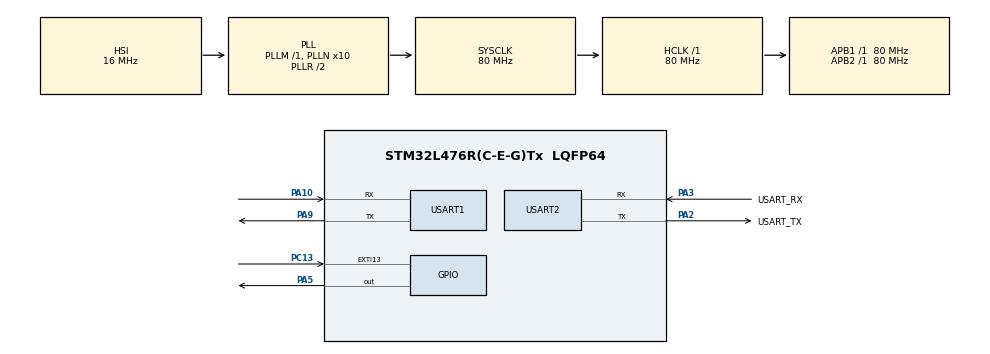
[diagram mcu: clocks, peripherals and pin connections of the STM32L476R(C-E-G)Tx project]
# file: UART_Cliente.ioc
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Dma.Request0=USART1_RX
Dma.Request1=USART1_TX
Dma.Request2=USART2_RX
Dma.Request3=USART2_TX
Dma.USART1_RX.0.Direction=DMA_PERIPH_TO_MEMORY
Dma.USART1_RX.0.Instance=DMA1_Channel5
Dma.USART1_RX.0.MemDataAlignment=DMA_MDATAALIGN_BYTE
Dma.USART1_RX.0.MemInc=DMA_MINC_ENABLE
Dma.USART1_RX.0.Mode=DMA_NORMAL
Dma.USART1_RX.0.PeriphDataAlignment=DMA_PDATAALIGN_BYTE
Dma.USART1_RX.0.PeriphInc=DMA_PINC_DISABLE
Dma.USART1_RX.0.Priority=DMA_PRIORITY_HIGH
Dma.USART1_TX.1.Direction=DMA_MEMORY_TO_PERIPH
Dma.USART1_TX.1.Instance=DMA1_Channel4
Dma.USART1_TX.1.MemDataAlignment=DMA_MDATAALIGN_BYTE
Dma.USART1_TX.1.MemInc=DMA_MINC_ENABLE
Dma.USART1_TX.1.Mode=DMA_NORMAL
Dma.USART1_TX.1.PeriphDataAlignment=DMA_PDATAALIGN_BYTE
Dma.USART1_TX.1.PeriphInc=DMA_PINC_DISABLE
Dma.USART1_TX.1.Priority=DMA_PRIORITY_MEDIUM
Dma.USART2_RX.2.Direction=DMA_PERIPH_TO_MEMORY
Dma.USART2_RX.2.Instance=DMA1_Channel6
Dma.USART2_RX.2.MemDataAlignment=DMA_MDATAALIGN_BYTE
Dma.USART2_RX.2.MemInc=DMA_MINC_ENABLE
Dma.USART2_RX.2.Mode=DMA_NORMAL
Dma.USART2_RX.2.PeriphDataAlignment=DMA_PDATAALIGN_BYTE
Dma.USART2_RX.2.PeriphInc=DMA_PINC_DISABLE
Dma.USART2_RX.2.Priority=DMA_PRIORITY_LOW
Dma.USART2_TX.3.Direction=DMA_MEMORY_TO_PERIPH
Dma.USART2_TX.3.Instance=DMA1_Channel7
Dma.USART2_TX.3.MemDataAlignment=DMA_MDATAALIGN_BYTE
Dma.USART2_TX.3.MemInc=DMA_MINC_ENABLE
Dma.USART2_TX.3.Mode=DMA_NORMAL
Dma.USART2_TX.3.PeriphDataAlignment=DMA_PDATAALIGN_BYTE
Dma.USART2_TX.3.PeriphInc=DMA_PINC_DISABLE
Dma.USART2_TX.3.Priority=DMA_PRIORITY_LOW
Mcu.Family=STM32L4
Mcu.Name=STM32L476R(C-E-G)Tx
Mcu.Package=LQFP64
NUCLEO-L476RG.BUTTON=1
NUCLEO-L476RG.LD2=true
NVIC.DMA1_Channel4_IRQn=true\:0\:0\:false\:false\:true\:false\:true\:true
NVIC.DMA1_Channel5_IRQn=true\:0\:0\:false\:false\:true\:false\:true\:true
NVIC.DMA1_Channel6_IRQn=true\:0\:0\:false\:false\:true\:false\:true\:true
NVIC.DMA1_Channel7_IRQn=true\:0\:0\:false\:false\:true\:false\:true\:true
NVIC.EXTI15_10_IRQn=true\:0\:0\:false\:false\:true\:false\:true\:true
NVIC.PriorityGroup=NVIC_PRIORITYGROUP_4
NVIC.USART1_IRQn=true\:0\:0\:false\:false\:true\:true\:true\:true
NVIC.USART2_IRQn=true\:0\:0\:false\:false\:true\:true\:true\:true
PA10.Mode=Asynchronous
PA10.Signal=USART1_RX
PA13\ (JTMS-SWDIO).GPIO_Label=TMS
PA13\ (JTMS-SWDIO).Mode=Serial_Wire
PA13\ (JTMS-SWDIO).Signal=SYS_JTMS-SWDIO
PA14\ (JTCK-SWCLK).GPIO_Label=TCK
PA14\ (JTCK-SWCLK).Mode=Serial_Wire
PA14\ (JTCK-SWCLK).Signal=SYS_JTCK-SWCLK
PA2.GPIO_Label=USART_TX
PA2.GPIO_Mode=GPIO_MODE_AF_PP
PA2.GPIO_PuPd=GPIO_NOPULL
PA2.GPIO_Speed=GPIO_SPEED_FREQ_VERY_HIGH
PA2.Mode=Asynchronous
PA2.Signal=USART2_TX
PA3.GPIO_Label=USART_RX
PA3.GPIO_Mode=GPIO_MODE_AF_PP
PA3.GPIO_PuPd=GPIO_NOPULL
PA3.GPIO_Speed=GPIO_SPEED_FREQ_VERY_HIGH
PA3.Mode=Asynchronous
PA3.Signal=USART2_RX
PA5.Signal=GPIO_Output
PA9.Mode=Asynchronous
PA9.Signal=USART1_TX
PB3\ (JTDO-TRACESWO).GPIO_Label=SWO
PB3\ (JTDO-TRACESWO).Signal=SYS_JTDO-SWO
PC13.Signal=GPXTI13
PC14-OSC32_IN\ (PC14).Signal=RCC_OSC32_IN
PC15-OSC32_OUT\ (PC15).Signal=RCC_OSC32_OUT
PH0-OSC_IN\ (PH0).Signal=RCC_OSC_IN
PH1-OSC_OUT\ (PH1).Signal=RCC_OSC_OUT
ProjectManager.HeapSize=0x200
ProjectManager.StackSize=0x400
ProjectManager.TargetToolchain=STM32CubeIDE
RCC.ADCFreq_Value=64000000
RCC.AHBFreq_Value=80000000
RCC.APB1Freq_Value=80000000
RCC.APB1TimFreq_Value=80000000
RCC.APB2Freq_Value=80000000
RCC.APB2TimFreq_Value=80000000
RCC.CortexFreq_Value=80000000
RCC.HCLKFreq_Value=80000000
RCC.HSE_VALUE=8000000
RCC.HSI_VALUE=16000000
RCC.LSE_VALUE=32768
RCC.MSI_VALUE=4000000
RCC.PLLN=10
RCC.PLLSourceVirtual=RCC_PLLSOURCE_HSI
RCC.PREFETCH_ENABLE=1
RCC.SYSCLKFreq_VALUE=80000000
RCC.SYSCLKSource=RCC_SYSCLKSOURCE_PLLCLK
RCC.USBFreq_Value=64000000
RCC.VCOOutputFreq_Value=160000000
USART1.VirtualMode-Asynchronous=VM_ASYNC
USART2.VirtualMode-Asynchronous=VM_ASYNC
VP_NUCLEO-L476RG_VS_BSP_COMMON.Mode=COMMON
board=NUCLEO-L476RG

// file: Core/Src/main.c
/* USER CODE BEGIN Header */
/**
  ******************************************************************************
  * @file           : main.c
  * @brief          : Main program body
  ******************************************************************************
  * @attention
  *
  * Copyright (c) 2026 STMicroelectronics.
  * All rights reserved.
  *
  * This software is licensed under terms that can be found in the LICENSE file
  * in the root directory of this software component.
  * If no LICENSE file comes with this software, it is provided AS-IS.
  *
  ******************************************************************************
  */
/* USER CODE END Header */
#include "main.h"

/* USER CODE BEGIN Includes */
#include <stdio.h>
#include <string.h>
#include <stdint.h>
/* USER CODE END Includes */

UART_HandleTypeDef huart1;
UART_HandleTypeDef huart2;
DMA_HandleTypeDef hdma_usart1_rx;
DMA_HandleTypeDef hdma_usart1_tx;
DMA_HandleTypeDef hdma_usart2_rx;
DMA_HandleTypeDef hdma_usart2_tx;

/* USER CODE BEGIN PV */
#define CMD_REQUEST 0x5A
#define CMD_READY   0xA5
#define TABLE_SIZE  160

typedef enum {
    CLIENT_IDLE,
    CLIENT_WAIT_COUNT,
    CLIENT_WAIT_TABLE,
    CLIENT_BLINKING,
    CLIENT_REPORT_IT,
    CLIENT_REPORT_DMA
} ClientState;

volatile ClientState clientState = CLIENT_IDLE;

// Comunicacao com servidor
uint8_t requestCmd = CMD_REQUEST;
uint8_t readyCmd = CMD_READY;

uint8_t receivedCount = 0;
uint8_t tableBuffer[TABLE_SIZE];

// Comunicacao com PC
uint8_t pcMessage[64];
uint16_t pcMessageLen = 0;

// Controle do LED
uint16_t completedBlinks = 0;
uint8_t ledIsOn = 0;

uint32_t lastLedTick = 0;
uint32_t lastButtonTick = 0;
/* USER CODE END PV */

void SystemClock_Config(void);
static void MX_GPIO_Init(void);
static void MX_DMA_Init(void);
static void MX_USART1_UART_Init(void);
static void MX_USART2_UART_Init(void);

int main(void)
{

  /* MCU Configuration--------------------------------------------------------*/

  /* Reset of all peripherals, Initializes the Flash interface and the Systick. */
  HAL_Init();

  /* Configure the system clock */
  SystemClock_Config();

  /* Initialize all configured peripherals */
  MX_GPIO_Init();
  MX_DMA_Init();
  MX_USART1_UART_Init();
  MX_USART2_UART_Init();
  /* USER CODE BEGIN 2 */
  // Comeca com LED desligado
  HAL_GPIO_WritePin(
      GPIOA,
      GPIO_PIN_5,
      GPIO_PIN_RESET
  );

  // Inicia a recepcao do contador
  if (HAL_UART_Receive_IT(
          &huart1,
          &receivedCount,
          1) != HAL_OK)
  {
      Error_Handler();
  }
  /* USER CODE END 2 */

  /* Initialize leds */
  BSP_LED_Init(LED_GREEN);

  /* Initialize USER push-button, will be used to trigger an interrupt each time it's pressed.*/
  BSP_PB_Init(BUTTON_USER, BUTTON_MODE_EXTI);

  /* Infinite loop */
  while (1)
  {

    /* USER CODE BEGIN 3 */
	  if (clientState == CLIENT_BLINKING)
	  {
	      uint32_t now = HAL_GetTick();

	      // Caso o contador seja zero
	      if (receivedCount == 0)
	      {
	          ledIsOn = 0;
	          clientState = CLIENT_REPORT_IT;
	      }
	      else if ((now - lastLedTick) >= 500)
	      {
	          lastLedTick = now;

	          if (ledIsOn == 0)
	          {
	              // Acende LED
	              HAL_GPIO_WritePin(
	                  GPIOA,
	                  GPIO_PIN_5,
	                  GPIO_PIN_SET
	              );

	              ledIsOn = 1;
	          }
	          else
	          {
	              // Apaga LED
	              HAL_GPIO_WritePin(
	                  GPIOA,
	                  GPIO_PIN_5,
	                  GPIO_PIN_RESET
	              );

	              ledIsOn = 0;
	              completedBlinks++;

	              if (completedBlinks >= receivedCount)
	              {
	                  clientState = CLIENT_REPORT_IT;
	              }
	          }
	      }
	  }

	  // Preparar a mensagem quando acabar de piscar
	  if (clientState == CLIENT_REPORT_IT &&
	      pcMessageLen == 0)
	  {
	      int len = snprintf(
	          (char *)pcMessage,
	          sizeof(pcMessage),
	          "Numero de eventos = %03u\r\n",
	          (unsigned int)receivedCount
	      );

	      if (len > 0 && len < sizeof(pcMessage))
	      {
	          pcMessageLen = (uint16_t)len;

	          if (HAL_UART_Transmit_IT(
	                  &huart2,
	                  pcMessage,
	                  pcMessageLen) != HAL_OK)
	          {
	              Error_Handler();
	          }
	      }
	  }
  }
  /* USER CODE END 3 */
}

void SystemClock_Config(void)
{
  RCC_OscInitTypeDef RCC_OscInitStruct = {0};
  RCC_ClkInitTypeDef RCC_ClkInitStruct = {0};

  /** Configure the main internal regulator output voltage
  */
  if (HAL_PWREx_ControlVoltageScaling(PWR_REGULATOR_VOLTAGE_SCALE1) != HAL_OK)
  {
    Error_Handler();
  }

  /** Initializes the RCC Oscillators according to the specified parameters
  * in the RCC_OscInitTypeDef structure.
  */
  RCC_OscInitStruct.OscillatorType = RCC_OSCILLATORTYPE_HSI;
  RCC_OscInitStruct.HSIState = RCC_HSI_ON;
  RCC_OscInitStruct.HSICalibrationValue = RCC_HSICALIBRATION_DEFAULT;
  RCC_OscInitStruct.PLL.PLLState = RCC_PLL_ON;
  RCC_OscInitStruct.PLL.PLLSource = RCC_PLLSOURCE_HSI;
  RCC_OscInitStruct.PLL.PLLM = 1;
  RCC_OscInitStruct.PLL.PLLN = 10;
  RCC_OscInitStruct.PLL.PLLP = RCC_PLLP_DIV7;
  RCC_OscInitStruct.PLL.PLLQ = RCC_PLLQ_DIV2;
  RCC_OscInitStruct.PLL.PLLR = RCC_PLLR_DIV2;
  if (HAL_RCC_OscConfig(&RCC_OscInitStruct) != HAL_OK)
  {
    Error_Handler();
  }

  /** Initializes the CPU, AHB and APB buses clocks
  */
  RCC_ClkInitStruct.ClockType = RCC_CLOCKTYPE_HCLK|RCC_CLOCKTYPE_SYSCLK
                              |RCC_CLOCKTYPE_PCLK1|RCC_CLOCKTYPE_PCLK2;
  RCC_ClkInitStruct.SYSCLKSource = RCC_SYSCLKSOURCE_PLLCLK;
  RCC_ClkInitStruct.AHBCLKDivider = RCC_SYSCLK_DIV1;
  RCC_ClkInitStruct.APB1CLKDivider = RCC_HCLK_DIV1;
  RCC_ClkInitStruct.APB2CLKDivider = RCC_HCLK_DIV1;

  if (HAL_RCC_ClockConfig(&RCC_ClkInitStruct, FLASH_LATENCY_4) != HAL_OK)
  {
    Error_Handler();
  }
}

static void MX_USART1_UART_Init(void)
{

  huart1.Instance = USART1;
  huart1.Init.BaudRate = 115200;
  huart1.Init.WordLength = UART_WORDLENGTH_8B;
  huart1.Init.StopBits = UART_STOPBITS_1;
  huart1.Init.Parity = UART_PARITY_NONE;
  huart1.Init.Mode = UART_MODE_TX_RX;
  huart1.Init.HwFlowCtl = UART_HWCONTROL_NONE;
  huart1.Init.OverSampling = UART_OVERSAMPLING_16;
  huart1.Init.OneBitSampling = UART_ONE_BIT_SAMPLE_DISABLE;
  huart1.AdvancedInit.AdvFeatureInit = UART_ADVFEATURE_NO_INIT;
  if (HAL_UART_Init(&huart1) != HAL_OK)
  {
    Error_Handler();
  }

}

static void MX_USART2_UART_Init(void)
{

  huart2.Instance = USART2;
  huart2.Init.BaudRate = 115200;
  huart2.Init.WordLength = UART_WORDLENGTH_8B;
  huart2.Init.StopBits = UART_STOPBITS_1;
  huart2.Init.Parity = UART_PARITY_NONE;
  huart2.Init.Mode = UART_MODE_TX_RX;
  huart2.Init.HwFlowCtl = UART_HWCONTROL_NONE;
  huart2.Init.OverSampling = UART_OVERSAMPLING_16;
  huart2.Init.OneBitSampling = UART_ONE_BIT_SAMPLE_DISABLE;
  huart2.AdvancedInit.AdvFeatureInit = UART_ADVFEATURE_NO_INIT;
  if (HAL_UART_Init(&huart2) != HAL_OK)
  {
    Error_Handler();
  }

}

static void MX_DMA_Init(void)
{

  /* DMA controller clock enable */
  __HAL_RCC_DMA1_CLK_ENABLE();

  /* DMA interrupt init */
  /* DMA1_Channel4_IRQn interrupt configuration */
  HAL_NVIC_SetPriority(DMA1_Channel4_IRQn, 0, 0);
  HAL_NVIC_EnableIRQ(DMA1_Channel4_IRQn);
  /* DMA1_Channel5_IRQn interrupt configuration */
  HAL_NVIC_SetPriority(DMA1_Channel5_IRQn, 0, 0);
  HAL_NVIC_EnableIRQ(DMA1_Channel5_IRQn);
  /* DMA1_Channel6_IRQn interrupt configuration */
  HAL_NVIC_SetPriority(DMA1_Channel6_IRQn, 0, 0);
  HAL_NVIC_EnableIRQ(DMA1_Channel6_IRQn);
  /* DMA1_Channel7_IRQn interrupt configuration */
  HAL_NVIC_SetPriority(DMA1_Channel7_IRQn, 0, 0);
  HAL_NVIC_EnableIRQ(DMA1_Channel7_IRQn);

}

static void MX_GPIO_Init(void)
{

  /* GPIO Ports Clock Enable */
  __HAL_RCC_GPIOC_CLK_ENABLE();
  __HAL_RCC_GPIOH_CLK_ENABLE();
  __HAL_RCC_GPIOA_CLK_ENABLE();
  __HAL_RCC_GPIOB_CLK_ENABLE();

}

/* USER CODE BEGIN 4 */
// Botao B1 da Nucleo
void HAL_GPIO_EXTI_Callback(uint16_t GPIO_Pin)
{
    if (GPIO_Pin == GPIO_PIN_13)
    {
        uint32_t now = HAL_GetTick();

        // Ignora bounce do botao
        if ((now - lastButtonTick) < 180) {
            return;
        }

        lastButtonTick = now;

        // Apenas solicita se estiver livre
        if (clientState == CLIENT_IDLE)
        {
            clientState = CLIENT_WAIT_COUNT;

            if (HAL_UART_Transmit_IT(
                    &huart1,
                    &requestCmd,
                    1) != HAL_OK)
            {
                Error_Handler();
            }
        }
    }
}

// Quando recebe contador ou tabela
void HAL_UART_RxCpltCallback(UART_HandleTypeDef *huart)
{
    // Recebeu contador via interrupcao
    if (huart->Instance == USART1 &&
        clientState == CLIENT_WAIT_COUNT)
    {
        clientState = CLIENT_WAIT_TABLE;

        // Prepara recepcao DMA da tabela
        if (HAL_UART_Receive_DMA(
                &huart1,
                tableBuffer,
                TABLE_SIZE) != HAL_OK)
        {
            Error_Handler();
        }

        // Avisa ao servidor que esta pronto
        if (HAL_UART_Transmit_IT(
                &huart1,
                &readyCmd,
                1) != HAL_OK)
        {
            Error_Handler();
        }
    }
    // Recebeu a tabela por DMA
    else if (huart->Instance == USART1 &&
             clientState == CLIENT_WAIT_TABLE)
    {
        completedBlinks = 0;
        ledIsOn = 0;
        lastLedTick = HAL_GetTick();

        HAL_GPIO_WritePin(
            GPIOA,
            GPIO_PIN_5,
            GPIO_PIN_RESET
        );

        clientState = CLIENT_BLINKING;
    }
}

void HAL_UART_TxCpltCallback(UART_HandleTypeDef *huart)
{
    if (huart->Instance == USART2)
    {
        // Terminou envio da mensagem por IT
        if (clientState == CLIENT_REPORT_IT)
        {
            clientState = CLIENT_REPORT_DMA;

            // Envia tabela ao PC via DMA
            if (HAL_UART_Transmit_DMA(
                    &huart2,
                    tableBuffer,
                    TABLE_SIZE) != HAL_OK)
            {
                Error_Handler();
            }
        }
        // Terminou envio da tabela por DMA
        else if (clientState == CLIENT_REPORT_DMA)
        {
            // Preparado para proxima solicitacao
            if (HAL_UART_Receive_IT(
                    &huart1,
                    &receivedCount,
                    1) != HAL_OK)
            {
                Error_Handler();
            }

            pcMessageLen = 0;
            clientState = CLIENT_IDLE;
        }
    }
}
/* USER CODE END 4 */

void Error_Handler(void)
{
  __disable_irq();
  while (1)
  {
  }
}
